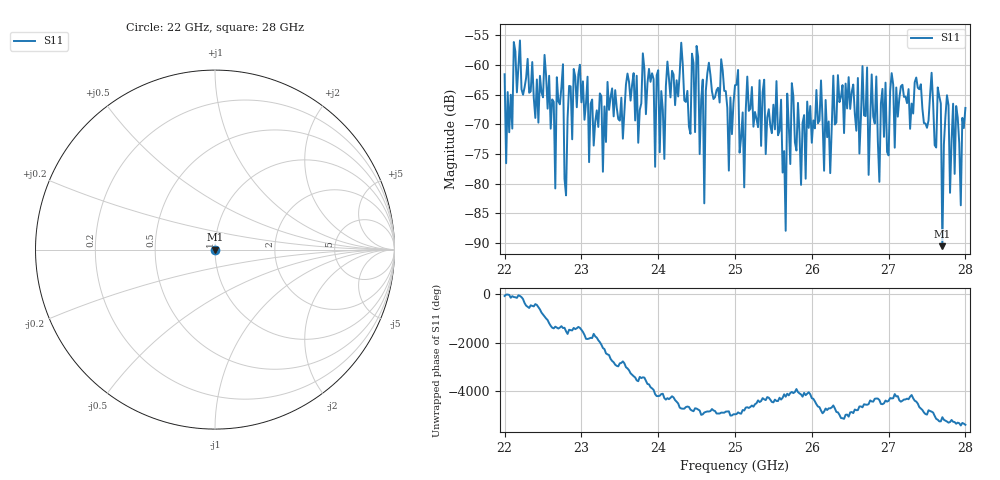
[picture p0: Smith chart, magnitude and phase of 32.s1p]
#  HZ  S  RI  R  50.00
! Rohde & Schwarz ZVA40 4Ports - Version 3.90 - 1145.1110k42 SN: 100403
! Date: 2023-10-04 08:01:10
! Measurement: S12
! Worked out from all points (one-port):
!   301 points, 22 GHz to 28 GHz, reference 50 ohm
!   lowest |S11| = -90.6 dB at 27.7 GHz (marker M1), VSWR 1.00, Z = 50 - j0.00163 ohm
!   |S11| at or under -10 dB: start of sweep to end of sweep
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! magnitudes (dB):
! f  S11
! 22 GHz  -61.5
! 22.02 GHz  -76.6
! 22.12 GHz  -56.1
! 22.52 GHz  -58.3
! 22.66 GHz  -80.8
! 22.76 GHz  -59.9
! 22.8 GHz  -82.0
! 22.9 GHz  -60.7
! 23.5 GHz  -69.4
! 24.26 GHz  -65.3
! 24.5 GHz  -56.8
! 24.6 GHz  -83.3
! 24.66 GHz  -59.6
! 24.92 GHz  -77.8
! 25 GHz  -63.4
! 25.12 GHz  -80.6
! 25.16 GHz  -61.9
! 25.66 GHz  -88.0
! 25.76 GHz  -65.3
! 25.86 GHz  -80.2
! 26.5 GHz  -67.4
! 26.74 GHz  -78.5
! 26.84 GHz  -61.9
! 26.88 GHz  -79.7
! 27.26 GHz  -64.0
! 27.64 GHz  -63.8
! 27.7 GHz  -90.6
! 28 GHz  -67.2
